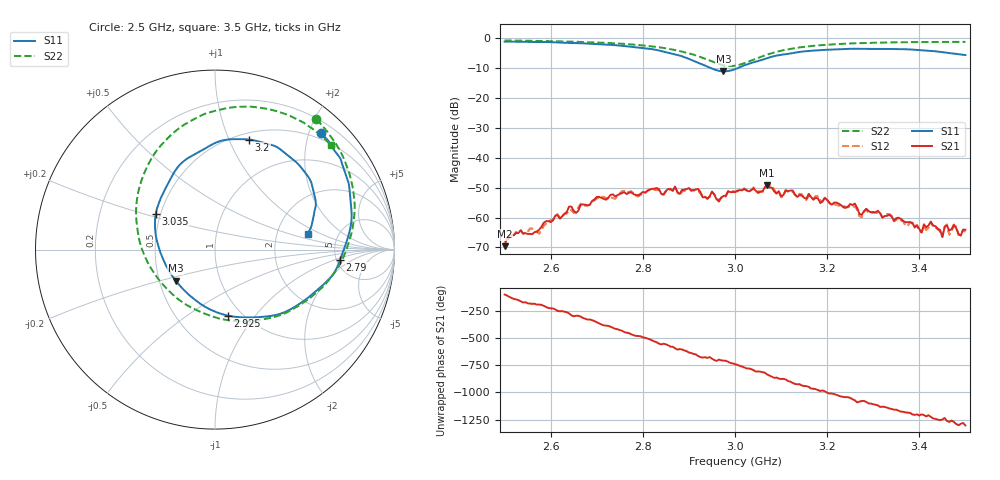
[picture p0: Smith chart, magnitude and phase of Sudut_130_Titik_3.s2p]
# Hz S RI R 50
! CMT, C1220, 16058040, 17.2.0/1
! Date: 15/08/2018 10:41:36
! Data: Format (Calibration Info)
! Freq  S11: Re/Im (F2)  S21: Re/Im (F2)  S12: Re/Im (F2)  S22: Re/Im (F2)
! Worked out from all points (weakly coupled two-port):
!   201 points, 2.5 GHz to 3.5 GHz, reference 50 ohm
!   highest |S21| = -49.22 dB at 3.07 GHz (marker M1); lowest = -69.6 dB at 2.5 GHz (marker M2)
!   lowest |S11| = -11.1 dB at 2.975 GHz (marker M3), VSWR 1.77, Z = 30.4 - j11.4 ohm
!   |S11| at or under -10 dB: 2.948 GHz to 3.006 GHz (57.64 MHz wide, 1.94 % of centre)
!   |S22| runs from -9.3 to -0.7 dB; largest |S21 - S12| = 0.00034
!   S11 on the Smith chart (normalised r, x): 2.5 GHz: 0.39, +2.21; 2.79 GHz: 5.39, -1.18; 2.925 GHz: 0.86, -0.74; 3.035 GHz: 0.47, +0.22; 3.2 GHz: 0.57, +1.19; 3.5 GHz: 3.00, +0.72
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2.5e9  0.5924 0.649  -2.23e-05 -0.000331  -1.52e-05 -0.00038  0.5639 0.7252
2.51e9  0.6066 0.6324  -0.000211 -0.000456  -0.000162 -0.00042  0.5757 0.7143
2.575e9  0.6814 0.5311  -0.00062 7.83e-05  -0.000517 0.000145  0.6467 0.6272
2.67e9  0.749 0.3397  0.00107 0.00126  0.00113 0.00115  0.7386 0.453
2.79e9  0.6973 -0.0558  -0.00109 -0.0021  -0.00112 -0.00195  0.7637 0.1058
2.835e9  0.5871 -0.21  -0.00296 0.000425  -0.00286 0.000336  0.7038 -0.0673
2.925e9  0.0708 -0.3676  0.00181 0.00195  0.00163 0.00193  0.2983 -0.3825
2.975e9  -0.2188 -0.1735  0.00223 0.000573  0.00219 0.000566  -0.0973 -0.3398
3e9  -0.3031 -0.0191  0.00254 -0.000833  0.00252 -0.000935  -0.274 -0.2125
3.035e9  -0.3305 0.1979  0.00128 -0.00256  0.0013 -0.00258  -0.4208 0.0476
3.07e9  -0.248 0.3927  -0.00138 -0.00317  -0.00116 -0.00317  -0.4286 0.318
3.17e9  0.0894 0.6148  -0.000839 0.0018  -0.00107 0.00178  -0.0886 0.7415
3.2e9  0.1899 0.6134  0.000417 0.00192  0.00058 0.0019  0.0215 0.7779
3.26e9  0.351 0.5676  0.00169 0.00024  0.00152 0.000248  0.2103 0.7955
3.275e9  0.3793 0.5461  0.00111 2.36e-05  0.001 8.26e-05  0.2518 0.7906
3.335e9  0.4906 0.4439  0.00041 -0.00103  0.000399 -0.00108  0.3926 0.7552
3.405e9  0.5547 0.2998  -0.000299 -0.000472  -0.00034 -0.000458  0.5195 0.6888
3.425e9  0.5621 0.2532  -0.000702 -0.000486  -0.000725 -0.000437  0.5496 0.6687
3.45e9  0.552 0.199  -0.000465 -8.34e-05  -0.000459 -0.000106  0.586 0.6401
3.46e9  0.5468 0.1723  -0.000733 4.05e-05  -0.000762 6e-05  0.5986 0.63
3.465e9  0.5441 0.1591  -0.000591 0.000132  -0.000509 9.5e-05  0.6044 0.6245
3.5e9  0.5158 0.0874  -0.000442 0.000441  -0.000351 0.000463  0.6455 0.5831
